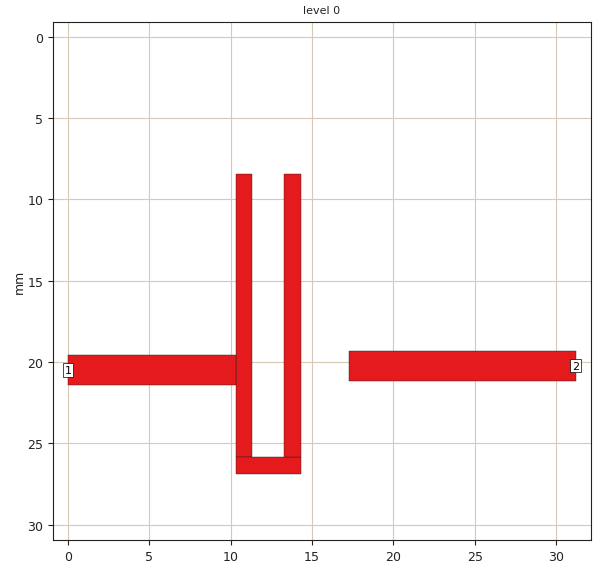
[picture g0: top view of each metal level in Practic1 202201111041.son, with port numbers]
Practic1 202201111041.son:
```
FTYP SONPROJ 3 ! Sonnet Project File
VER 11.54
HEADER
LIC Sonn.1.12345
DAT 04/17/2022 21:23:00
BUILT_BY_CREATED xgeom 11.54 01/11/2022 09:47:42
BUILT_BY_SAVED xgeom 11.54
MDATE 04/16/2022 00:12:15
HDATE 04/16/2022 00:12:15
END HEADER
DIM
FREQ GHZ
IND NH
LNG MM
ANG DEG
CON /OH
CAP PF
RES OH
END DIM
FREQ
ABS 1.0 3.0 
END FREQ
CONTROL
ABS
OPTIONS  -d 
SPEED 0
CACHE_ABS 1
TARG_ABS 300
Q_ACC N
END CONTROL
GEO
TMET "Lossless" 0 SUP 0 0 0 0
BMET "Lossless" 0 SUP 0 0 0 0
BOX 1 31.2 30 1248 1200 20 0
      10 1 1 0 0 0 0 "Unnamed"
      1.27 6.15 1 0 0 0 0 "Unnamed"
DIM STD YDIR 1
POS -3.550245834 2.875002545
NOM 5.45
REF1 POLY 11 1
2
REF2 POLY 9 1
3
END
DIM STD YDIR 1
POS -0.5479495619 9.199999526
NOM 18.4
REF1 POLY 8 1
0
REF2 POLY 9 1
3
END
DIM STD YDIR -1
POS 2.116399931 -2.399999243
NOM 5.7
REF1 POLY 9 1
2
REF2 POLY 13 1
3
END
POR1 STD
POLY 11 1
3
1 50 0 0 0 0 20.475 
POR1 STD
POLY 13 1
1
2 50 0 0 0 31.2 20.225 
NUM 5
0 5 -1 N 8 1 1 100 100 0 0 0 Y
10.3 8.45
11.3 8.45
11.3 25.85
10.3 25.85
10.3 8.45
END
0 5 -1 N 9 1 1 100 100 0 0 0 Y
10.3 25.85
14.3 25.85
14.3 26.85
10.3 26.85
10.3 25.85
END
0 5 -1 N 10 1 1 100 100 0 0 0 Y
13.3 8.45
14.3 8.45
14.3 25.85
13.3 25.85
13.3 8.45
END
0 5 -1 N 11 1 1 100 100 0 0 0 Y
0 19.55
10.3 19.55
10.3 21.4
0 21.4
0 19.55
END
0 5 -1 N 13 1 1 100 100 0 0 0 Y
17.25 19.3
31.2 19.3
31.2 21.15
17.25 21.15
17.25 19.3
END
END GEO
OPT
MAX 100
VARS
END OPT
VARSWP
END VARSWP
QSG
IMPORT NO
EXTRA_METAL NO
UNITS YES
ALIGN NO
REF YES
VIEW_RES NO
METALS YES
USED YES
END QSG
```
